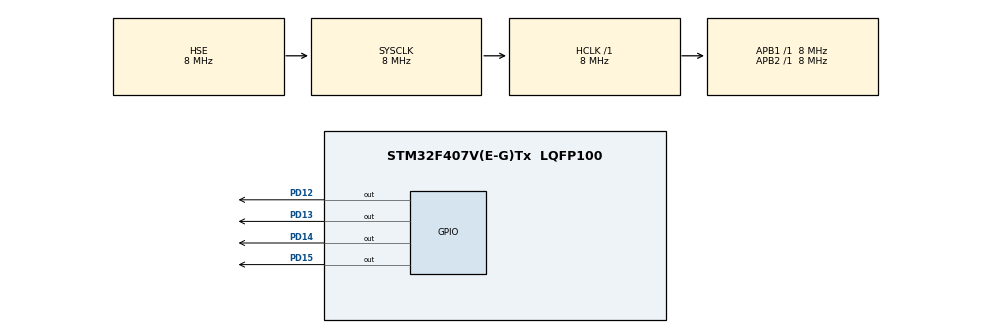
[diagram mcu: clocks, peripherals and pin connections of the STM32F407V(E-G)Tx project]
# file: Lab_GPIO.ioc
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FREERTOS.HEAP_NUMBER=1
FREERTOS.Tasks01=defaultTask,0,128,StartDefaultTask,Default,NULL,Dynamic,NULL,NULL
FREERTOS.configTICK_RATE_HZ=100
Mcu.Family=STM32F4
Mcu.Name=STM32F407V(E-G)Tx
Mcu.Package=LQFP100
NVIC.PriorityGroup=NVIC_PRIORITYGROUP_4
PD12.GPIO_Speed=GPIO_SPEED_FREQ_VERY_HIGH
PD12.PinState=GPIO_PIN_RESET
PD12.Signal=GPIO_Output
PD13.GPIO_Speed=GPIO_SPEED_FREQ_VERY_HIGH
PD13.Signal=GPIO_Output
PD14.GPIO_Speed=GPIO_SPEED_FREQ_VERY_HIGH
PD14.Signal=GPIO_Output
PD15.GPIO_Speed=GPIO_SPEED_FREQ_VERY_HIGH
PD15.Signal=GPIO_Output
PH0-OSC_IN.Mode=HSE-External-Oscillator
PH0-OSC_IN.Signal=RCC_OSC_IN
PH1-OSC_OUT.Mode=HSE-External-Oscillator
PH1-OSC_OUT.Signal=RCC_OSC_OUT
ProjectManager.HeapSize=0x200
ProjectManager.StackSize=0x400
ProjectManager.TargetToolchain=Makefile
RCC.48MHZClocksFreq_Value=32000000
RCC.AHBFreq_Value=8000000
RCC.APB1Freq_Value=8000000
RCC.APB1TimFreq_Value=8000000
RCC.APB2Freq_Value=8000000
RCC.APB2TimFreq_Value=8000000
RCC.CortexFreq_Value=8000000
RCC.HCLKFreq_Value=8000000
RCC.HSE_VALUE=8000000
RCC.HSI_VALUE=16000000
RCC.LSE_VALUE=32768
RCC.PLLM=4
RCC.PLLN=64
RCC.PLLSourceVirtual=RCC_PLLSOURCE_HSE
RCC.SYSCLKFreq_VALUE=8000000
RCC.SYSCLKSource=RCC_SYSCLKSOURCE_HSE
RCC.VCOOutputFreq_Value=128000000
VP_FREERTOS_VS_CMSIS_V1.Mode=CMSIS_V1
board=custom

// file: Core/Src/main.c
/* USER CODE BEGIN Header */
/**
  ******************************************************************************
  * @file           : main.c
  * @brief          : Main program body
  ******************************************************************************
  * @attention
  *
  * Copyright (c) 2023 STMicroelectronics.
  * All rights reserved.
  *
  * This software is licensed under terms that can be found in the LICENSE file
  * in the root directory of this software component.
  * If no LICENSE file comes with this software, it is provided AS-IS.
  *
  ******************************************************************************
  */
/* USER CODE END Header */
#include "main.h"
#include "cmsis_os.h"
#include "gpio.h"

/* USER CODE BEGIN Includes */
#include "FreeRTOS.h"
#include "task.h"

/* USER CODE END Includes */

void SystemClock_Config(void);

void MX_FREERTOS_Init(void);

/* USER CODE BEGIN PFP */
_Noreturn void vTask1(void *pvParameters);
/* USER CODE END PFP */

/* USER CODE BEGIN 0 */

/* main .c */
/**
  * @brief  The application entry point.
  * @retval int
  */
int main(void) {
    HAL_Init();
    SystemClock_Config();
    MX_GPIO_Init();

    xTaskCreate(vTask1,
                (const char *) "Task blink",
                configMINIMAL_STACK_SIZE,
                NULL,
                1,
                NULL);
    vTaskStartScheduler();

    while (1) {};
}
/* USER CODE END 0 */

void SystemClock_Config(void) {
    RCC_OscInitTypeDef RCC_OscInitStruct = {0};
    RCC_ClkInitTypeDef RCC_ClkInitStruct = {0};

    /** Configure the main internal regulator output voltage
    */
    __HAL_RCC_PWR_CLK_ENABLE();
    __HAL_PWR_VOLTAGESCALING_CONFIG(PWR_REGULATOR_VOLTAGE_SCALE1);

    /** Initializes the RCC Oscillators according to the specified parameters
    * in the RCC_OscInitTypeDef structure.
    */
    RCC_OscInitStruct.OscillatorType = RCC_OSCILLATORTYPE_HSE;
    RCC_OscInitStruct.HSEState = RCC_HSE_ON;
    RCC_OscInitStruct.PLL.PLLState = RCC_PLL_NONE;
    if (HAL_RCC_OscConfig(&RCC_OscInitStruct) != HAL_OK) {
        Error_Handler();
    }

    /** Initializes the CPU, AHB and APB buses clocks
    */
    RCC_ClkInitStruct.ClockType = RCC_CLOCKTYPE_HCLK | RCC_CLOCKTYPE_SYSCLK
                                  | RCC_CLOCKTYPE_PCLK1 | RCC_CLOCKTYPE_PCLK2;
    RCC_ClkInitStruct.SYSCLKSource = RCC_SYSCLKSOURCE_HSE;
    RCC_ClkInitStruct.AHBCLKDivider = RCC_SYSCLK_DIV1;
    RCC_ClkInitStruct.APB1CLKDivider = RCC_HCLK_DIV1;
    RCC_ClkInitStruct.APB2CLKDivider = RCC_HCLK_DIV1;

    if (HAL_RCC_ClockConfig(&RCC_ClkInitStruct, FLASH_LATENCY_0) != HAL_OK) {
        Error_Handler();
    }
}

/* USER CODE BEGIN 4 */
_Noreturn void vTask1(void *pvParameters) {
    while (1) {
        gpio_led_state(LED5_RED_ID, 1); // turn off
        gpio_led_state(LED6_BLUE_ID, 1); // turn off
        vTaskDelay(1000 / portTICK_RATE_MS); // delay 1s
        gpio_led_state(LED5_RED_ID, 0); // turn on
        gpio_led_state(LED6_BLUE_ID, 0); // turn on
        vTaskDelay(1000 / portTICK_RATE_MS); // delay 1s
    }
}
/* USER CODE END 4 */

_Noreturn void Error_Handler(void) {
    __disable_irq();
    while (1) {
    }
}
